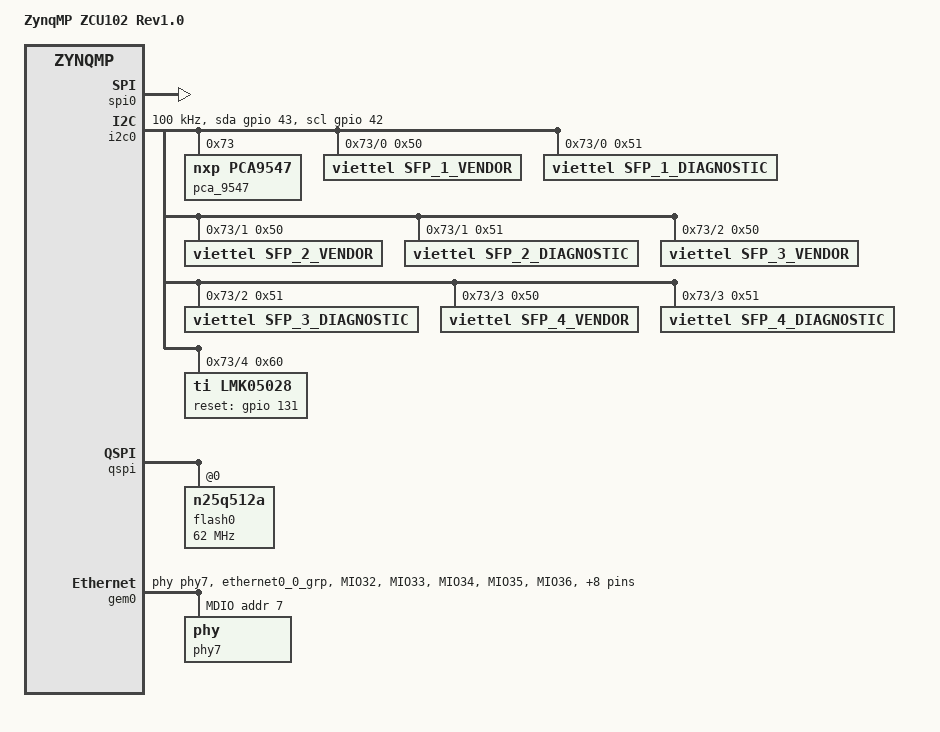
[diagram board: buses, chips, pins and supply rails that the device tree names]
/include/ "system-conf.dtsi"
/ {
	model = "ZynqMP ZCU102 Rev1.0";
    compatible = "xlnx,zynqmp-zcu102-rev1.0", "xlnx,zynqmp-zcu102", "xlnx,zynqmp";

    /*
    chosen {
		bootargs = "earlycon console=ttyPS0,115200 clk_ignore_unused  uio_pdrv_genirq.of_id=generic-uio debug";
		stdout-path = "serial0:115200n8";
	};
	*/
    
    chosen {
       bootargs = "earlycon clk_ignore_unused cpuidle.off=1 uio_pdrv_genirq.of_id=generic-uio mem=2G root=/dev/mtdblock3 rw rootfstype=jffs2";
    };
    

    aliases {
		ethernet0 = &gem0;
		
		i2c0 = &i2c0;
		serial0 = &uart0;
		serial1 = &uart1;
		spi0 = &qspi;
		spi1 = &spi0;
		spi2 = &spi1;

	};

	fpga_axi: fpga-axi@0 {
		interrupt-parent = <&gic>;
		compatible = "simple-bus";
		#address-cells = <0x1>;
		#size-cells = <0x1>;
		ranges = <0 0 0 0xffffffff>;

		fake_fpga_clk: fake_fpga_clk {
			#clock-cells = <0x0>;
			clock-frequency = <245760000>;
			compatible = "fixed-clock";
		};

	};

};

&spi0 {
	status = "okay";
};

&i2c0 {
	clock-frequency = <100000>;
	scl-gpios = <&gpio 42 0>;
	sda-gpios = <&gpio 43 0>;
	/delete-node/ gpio@20;
	/delete-node/ gpio@21;
	/delete-node/ i2c-mux@75;		
	// Must add CPLD I2C mux here

	pca_9547@73 {
		compatible = "nxp,pca9547";
		reg = <0x73>;
		#address-cells = <1>;
		#size-cells = <0>;

		i2c@0 {
			#address-cells = <1>;
			#size-cells = <0>;
			reg = <0x00>;

			sfp_1_vendor: sfp_1_vendor@50 {
				compatible = "viettel,sfp_1_vendor";
				reg = <0x50>; 
			};
			sfp_1_diagnostic: sfp_1_diagnostic@51 {
				compatible = "viettel,sfp_1_diagnostic";
				reg = <0x51>; 
			};
		};

		i2c@1 {
			#address-cells = <1>;
			#size-cells = <0>;
			reg = <0x01>;

			sfp_2_vendor: sfp_2_vendor@50 {
				compatible = "viettel,sfp_2_vendor";
				reg = <0x50>; 
			};
			sfp_2_diagnostic: sfp_2_diagnostic@51 {
				compatible = "viettel,sfp_2_diagnostic";
				reg = <0x51>; 
			};
		};

		i2c@2 {
			#address-cells = <1>;
			#size-cells = <0>;
			reg = <0x02>;

			sfp_3_vendor: sfp_3_vendor@50 {
				compatible = "viettel,sfp_3_vendor";
				reg = <0x50>; 
			};
			sfp_3_diagnostic: sfp_3_diagnostic@51 {
				compatible = "viettel,sfp_3_diagnostic";
				reg = <0x51>; 
			};
		};

		i2c@3 {
			#address-cells = <1>;
			#size-cells = <0>;
			reg = <0x03>;

			sfp_4_vendor: sfp_4_vendor@50 {
				compatible = "viettel,sfp_4_vendor";
				reg = <0x50>; 
			};
			sfp_4_diagnostic: sfp_4_diagnostic@51 {
				compatible = "viettel,sfp_4_diagnostic";
				reg = <0x51>; 
			};
		};

		i2c@4 {
			#address-cells = <1>;
			#size-cells = <0>;
			reg = <0x04>;

			lmk05028@60 {
				compatible = "ti,lmk05028";
				reg = <0x60>;
				reset-gpios = <&gpio 131 0>;
			};
		};
		
	};
};

&qspi {
	is-dual = <0>;
	flash0: flash@0 {
		compatible = "n25q512a","micron,m25p80";
		spi-tx-bus-width = <0x4>;
		spi-rx-bus-width = <0x4>;
		spi-max-frequency = <62000000>;
	};
};
/* 
	luu y cho nay khi bat ethernet

 */
&gem3 {
	/delete-property/ phy-handle;
	/delete-property/ pinctrl-names;
	/delete-property/ pinctrl-0;
    /delete-node/ phy@c;
};

&gem0 {
    phy-handle = <&phy7>;
	local-mac-address = [00 0b 35 00 22 01];
	pinctrl-names = "default";
	pinctrl-0 = <&pinctrl_gem0_default>;
	
	mdio {
		#address-cells = <1>;
		#size-cells = <0>;    
	    phy7: phy@7 {
			device_type = "ethernet-phy";
	        reg = <0x7>;
	        rxc-skew-ps = <3000>;
			rxdv-skew-ps = <0>;
			txc-skew-ps = <3000>;
			txen-skew-ps = <0>;
	    };
    };

	/*
	/delete-property/ phy-handle;
    /delete-node/ phy@c;
			compatible = "micrel,ksz9031";
	phy-reset-gpio = <&gpio 59 0>;
	phy-reset-active-low;
	phy-handle = <&phy0>;
	phy-mode = "rgmii-id";
	mdio {
		phy0: ethernet-phy@0 {
			rxc-skew-ps = <3000>;
			rxdv-skew-ps = <0>;
			txc-skew-ps = <3000>;
			txen-skew-ps = <0>;
	        ti,rx-internal-delay = <0x8>;
			ti,tx-internal-delay = <0xa>;
			ti,fifo-depth = <0x1>;
			ti,rxctrl-strap-worka;
			reg = <0>;
		};
	};
    phy0: phy@0 {
        compatible = "micrel,ksz9031";
        device_type = "ethernet-phy";
        rxc-skew-ps = <1740>;
        txc-skew-ps = <1860>;
        txen-skew-ps = <660>;
        rxdv-skew-ps = <900>;
        rxd0-skew-ps = <900>;
        rxd1-skew-ps = <900>;
        rxd2-skew-ps = <900>;
        rxd3-skew-ps = <900>;
        txd0-skew-ps = <0>;
        txd1-skew-ps = <0>;
        txd2-skew-ps = <0>;
        txd3-skew-ps = <0>;
        reg = <0>;
        ti,rx-internal-delay = <0x8>;
		ti,tx-internal-delay = <0xa>;
		ti,fifo-depth = <0x1>;
		ti,rxctrl-strap-worka;
    };
    */
};


/* device tree from pinctrl-8T8R */


/* disable can */
&can1 {
	status = "disable";
	/delete-property/ pinctrl-0;
	/delete-property/ pinctrl-names;
};

/* disable some zcu102 gpios */
&gpio {
	/delete-property/ pinctrl-0;
	/delete-property/ pinctrl-names;
};

/* disable SD when booting by flash */
&sdhci1 {
	status = "disable";
	/delete-property/ pinctrl-0;
	/delete-property/ pinctrl-names;
	/delete-property/ no-1-8-v;
};

/* disable USB */
&usb0 {
	status = "disable";
	/delete-property/ pinctrl-0;
	/delete-property/ pinctrl-names;
};


&pinctrl0 {
	status = "okay";
	/delete-node/ can1-default;
	/delete-node/ gpio-default;
	/delete-node/ sdhci1-default;
	/delete-node/ usb0-default;
	/delete-node/ gem3-default;

	pinctrl_gem0_default: gem0-default {
		mux {
			function = "ethernet0";
			groups = "ethernet0_0_grp";
		};

		conf {
			groups = "ethernet0_0_grp";
			slew-rate = <1>;
			io-standard = <1>;
		};

		conf-rx {
			pins = "MIO32", "MIO33", "MIO34", "MIO35", "MIO36",
									"MIO37";
			bias-high-impedance;
			low-power-disable;
		};

		conf-tx {
			pins = "MIO26", "MIO27", "MIO28", "MIO29", "MIO30",
									"MIO31";
			bias-disable;
			low-power-enable;
		};

		mux-mdio {
			function = "mdio0";
			groups = "mdio0_0_grp";
		};

		conf-mdio {
			groups = "mdio0_0_grp";
			slew-rate = <1>;
			io-standard = <1>;
			bias-disable;
		};
	};

	pinctrl_i2c0_default: i2c0-default {
		mux {
			groups = "i2c0_10_grp";
			function = "i2c0";
		};

		conf {
			groups = "i2c0_10_grp";
			bias-pull-up;
			slew-rate = <1>;
			io-standard = <1>;
		};
	};

	pinctrl_i2c0_gpio: i2c0-gpio {
		mux {
			groups = "gpio0_42_grp", "gpio0_43_grp";
			function = "gpio0";
		};

		conf {
			groups = "gpio0_42_grp", "gpio0_43_grp";
			slew-rate = <1>;
			io-standard = <1>;
		};
	};

	
	pinctrl_uart0_default: uart0-default {
		mux {
			groups = "uart0_11_grp";
			function = "uart0";
		};

		conf {
			groups = "uart0_11_grp";
			slew-rate = <1>;
			io-standard = <1>;
		};

		conf-rx {
			pins = "MIO46";
			bias-high-impedance;
		};

		conf-tx {
			pins = "MIO47";
			bias-disable;
		};
	};

	pinctrl_uart1_default: uart1-default {
		mux {
			groups = "uart1_17_grp";
			function = "uart1";
		};

		conf {
			groups = "uart1_17_grp";
			slew-rate = <1>;
			io-standard = <1>;
		};

		conf-rx {
			pins = "MIO69";
			bias-high-impedance;
		};

		conf-tx {
			pins = "MIO68";
			bias-disable;
		};
	};

	
	pinctrl_nand0_default: nand0-default {
		mux {
			groups = "nand0_0_grp";
			function = "nand0";
		};

		conf {
			groups = "nand0_0_grp";
			bias-pull-up;
		};

		mux-ce {
			groups = "nand0_ce_0_grp";
			function = "nand0_ce";
		};

		conf-ce {
			groups = "nand0_ce_0_grp";
			bias-pull-up;
		};

		mux-rb {
			groups = "nand0_rb_0_grp";
			function = "nand0_rb";
		};

		conf-rb {
			groups = "nand0_rb_0_grp";
			bias-pull-up;
		};

		mux-dqs {
			groups = "nand0_dqs_0_grp";
			function = "nand0_dqs";
		};

		conf-dqs {
			groups = "nand0_dqs_0_grp";
			bias-pull-up;
		};
	};
	
};
